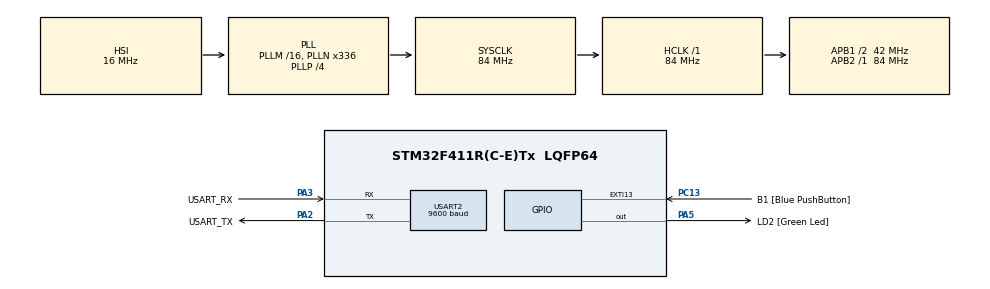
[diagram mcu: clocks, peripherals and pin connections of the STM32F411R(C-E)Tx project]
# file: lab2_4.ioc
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Mcu.Family=STM32F4
Mcu.Name=STM32F411R(C-E)Tx
Mcu.Package=LQFP64
NVIC.PriorityGroup=NVIC_PRIORITYGROUP_0
NVIC.USART2_IRQn=true\:0\:0\:false\:false\:true\:true\:true
PA13.GPIO_Label=TMS
PA13.Mode=Serial_Wire
PA13.Signal=SYS_JTMS-SWDIO
PA14.GPIO_Label=TCK
PA14.Mode=Serial_Wire
PA14.Signal=SYS_JTCK-SWCLK
PA2.GPIO_Label=USART_TX
PA2.Mode=Asynchronous
PA2.Signal=USART2_TX
PA3.GPIO_Label=USART_RX
PA3.Mode=Asynchronous
PA3.Signal=USART2_RX
PA5.GPIO_Label=LD2 [Green Led]
PA5.Signal=GPIO_Output
PB3.GPIO_Label=SWO
PB3.Signal=SYS_JTDO-SWO
PC13-ANTI_TAMP.GPIO_Label=B1 [Blue PushButton]
PC13-ANTI_TAMP.GPIO_ModeDefaultEXTI=GPIO_MODE_IT_FALLING
PC13-ANTI_TAMP.Signal=GPXTI13
PC14-OSC32_IN.Mode=LSE-External-Oscillator
PC14-OSC32_IN.Signal=RCC_OSC32_IN
PC15-OSC32_OUT.Mode=LSE-External-Oscillator
PC15-OSC32_OUT.Signal=RCC_OSC32_OUT
PH0\ -\ OSC_IN.Mode=HSE-External-Clock-Source
PH0\ -\ OSC_IN.Signal=RCC_OSC_IN
PH1\ -\ OSC_OUT.Mode=HSE-External-Clock-Source
PH1\ -\ OSC_OUT.Signal=RCC_OSC_OUT
ProjectManager.HeapSize=0x200
ProjectManager.StackSize=0x400
ProjectManager.TargetToolchain=STM32CubeIDE
RCC.48MHZClocksFreq_Value=84000000
RCC.AHBFreq_Value=84000000
RCC.APB1CLKDivider=RCC_HCLK_DIV2
RCC.APB1Freq_Value=42000000
RCC.APB1TimFreq_Value=84000000
RCC.APB2Freq_Value=84000000
RCC.APB2TimFreq_Value=84000000
RCC.CortexFreq_Value=84000000
RCC.FLatency-AdvancedSettings=FLASH_LATENCY_2
RCC.HCLKFreq_Value=84000000
RCC.HSE_VALUE=8000000
RCC.HSI_VALUE=16000000
RCC.PLLN=336
RCC.PLLP=RCC_PLLP_DIV4
RCC.SYSCLKFreq_VALUE=84000000
RCC.SYSCLKSource=RCC_SYSCLKSOURCE_PLLCLK
RCC.VCOOutputFreq_Value=336000000
USART2.BaudRate=9600
USART2.StopBits=STOPBITS_1
USART2.VirtualMode=VM_ASYNC
board=NUCLEO-F411RE

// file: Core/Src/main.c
/* USER CODE BEGIN Header */
/**
  ******************************************************************************
  * @file           : main.c
  * @brief          : Main program body
  ******************************************************************************
  * @attention
  *
  * <h2><center>&copy; Copyright (c) 2021 STMicroelectronics.
  * All rights reserved.</center></h2>
  *
  * This software component is licensed by ST under BSD 3-Clause license,
  * the "License"; You may not use this file except in compliance with the
  * License. You may obtain a copy of the License at:
  *                        opensource.org/licenses/BSD-3-Clause
  *
  ******************************************************************************
  */
/* USER CODE END Header */
#include "main.h"

UART_HandleTypeDef huart2;

/* USER CODE BEGIN PV */
uint8_t buf;
uint8_t cmd[4];
int exc, i;
/* USER CODE END PV */

void SystemClock_Config(void);
static void MX_GPIO_Init(void);
static void MX_USART2_UART_Init(void);

int main(void)
{

  /* MCU Configuration--------------------------------------------------------*/

  /* Reset of all peripherals, Initializes the Flash interface and the Systick. */
  HAL_Init();

  /* Configure the system clock */
  SystemClock_Config();

  /* Initialize all configured peripherals */
  MX_GPIO_Init();
  MX_USART2_UART_Init();
  /* USER CODE BEGIN 2 */

  exc = 1;
  i = 0;
  HAL_UART_Receive_IT(&huart2, &buf, sizeof(buf));
  /* USER CODE END 2 */

  /* Infinite loop */
  /* USER CODE BEGIN WHILE */
  while (1)
  {
	  if(exc) {
		  if(cmd[0] == 'o' && cmd[1] == 'n') HAL_GPIO_WritePin(GPIOA, GPIO_PIN_5, GPIO_PIN_SET);
		  else if(cmd[0] == 'o' && cmd[1] == 'f' && cmd[2] == 'f') HAL_GPIO_WritePin(GPIOA, GPIO_PIN_5, GPIO_PIN_RESET);
		  exc = 0;
		  i = 0;
	  }
    /* USER CODE END WHILE */
    /* USER CODE BEGIN 3 */
  }
}

void HAL_UART_RxCpltCallback(UART_HandleTypeDef *huart)
{
  if (huart->Instance == USART2)
  {
    /* Transmit one byte with 100 ms timeout */
    HAL_UART_Transmit(&huart2, &buf, 1, 100);

    /* Receive one byte in interrupt mode */
    HAL_UART_Receive_IT(&huart2, &buf, 1);

	  if(buf == 0xD || buf == 0xA) exc = 1;
	  else {
		  cmd[i] = buf;
		  i = (i + 1) % sizeof(cmd);
	  }
  }
  /* USER CODE END 3 */
}

void SystemClock_Config(void)
{
  RCC_OscInitTypeDef RCC_OscInitStruct = {0};
  RCC_ClkInitTypeDef RCC_ClkInitStruct = {0};

  /** Configure the main internal regulator output voltage
  */
  __HAL_RCC_PWR_CLK_ENABLE();
  __HAL_PWR_VOLTAGESCALING_CONFIG(PWR_REGULATOR_VOLTAGE_SCALE1);
  /** Initializes the RCC Oscillators according to the specified parameters
  * in the RCC_OscInitTypeDef structure.
  */
  RCC_OscInitStruct.OscillatorType = RCC_OSCILLATORTYPE_HSI;
  RCC_OscInitStruct.HSIState = RCC_HSI_ON;
  RCC_OscInitStruct.HSICalibrationValue = RCC_HSICALIBRATION_DEFAULT;
  RCC_OscInitStruct.PLL.PLLState = RCC_PLL_ON;
  RCC_OscInitStruct.PLL.PLLSource = RCC_PLLSOURCE_HSI;
  RCC_OscInitStruct.PLL.PLLM = 16;
  RCC_OscInitStruct.PLL.PLLN = 336;
  RCC_OscInitStruct.PLL.PLLP = RCC_PLLP_DIV4;
  RCC_OscInitStruct.PLL.PLLQ = 4;
  if (HAL_RCC_OscConfig(&RCC_OscInitStruct) != HAL_OK)
  {
    Error_Handler();
  }
  /** Initializes the CPU, AHB and APB buses clocks
  */
  RCC_ClkInitStruct.ClockType = RCC_CLOCKTYPE_HCLK|RCC_CLOCKTYPE_SYSCLK
                              |RCC_CLOCKTYPE_PCLK1|RCC_CLOCKTYPE_PCLK2;
  RCC_ClkInitStruct.SYSCLKSource = RCC_SYSCLKSOURCE_PLLCLK;
  RCC_ClkInitStruct.AHBCLKDivider = RCC_SYSCLK_DIV1;
  RCC_ClkInitStruct.APB1CLKDivider = RCC_HCLK_DIV2;
  RCC_ClkInitStruct.APB2CLKDivider = RCC_HCLK_DIV1;

  if (HAL_RCC_ClockConfig(&RCC_ClkInitStruct, FLASH_LATENCY_2) != HAL_OK)
  {
    Error_Handler();
  }
}

static void MX_USART2_UART_Init(void)
{

  huart2.Instance = USART2;
  huart2.Init.BaudRate = 9600;
  huart2.Init.WordLength = UART_WORDLENGTH_8B;
  huart2.Init.StopBits = UART_STOPBITS_1;
  huart2.Init.Parity = UART_PARITY_NONE;
  huart2.Init.Mode = UART_MODE_TX_RX;
  huart2.Init.HwFlowCtl = UART_HWCONTROL_NONE;
  huart2.Init.OverSampling = UART_OVERSAMPLING_16;
  if (HAL_UART_Init(&huart2) != HAL_OK)
  {
    Error_Handler();
  }

}

static void MX_GPIO_Init(void)
{
  GPIO_InitTypeDef GPIO_InitStruct = {0};

  /* GPIO Ports Clock Enable */
  __HAL_RCC_GPIOC_CLK_ENABLE();
  __HAL_RCC_GPIOH_CLK_ENABLE();
  __HAL_RCC_GPIOA_CLK_ENABLE();
  __HAL_RCC_GPIOB_CLK_ENABLE();

  /*Configure GPIO pin Output Level */
  HAL_GPIO_WritePin(LD2_GPIO_Port, LD2_Pin, GPIO_PIN_RESET);

  /*Configure GPIO pin : B1_Pin */
  GPIO_InitStruct.Pin = B1_Pin;
  GPIO_InitStruct.Mode = GPIO_MODE_IT_FALLING;
  GPIO_InitStruct.Pull = GPIO_NOPULL;
  HAL_GPIO_Init(B1_GPIO_Port, &GPIO_InitStruct);

  /*Configure GPIO pin : LD2_Pin */
  GPIO_InitStruct.Pin = LD2_Pin;
  GPIO_InitStruct.Mode = GPIO_MODE_OUTPUT_PP;
  GPIO_InitStruct.Pull = GPIO_NOPULL;
  GPIO_InitStruct.Speed = GPIO_SPEED_FREQ_LOW;
  HAL_GPIO_Init(LD2_GPIO_Port, &GPIO_InitStruct);

}

void Error_Handler(void)
{
  __disable_irq();
  while (1)
  {
  }
}

/************************ (C) COPYRIGHT STMicroelectronics *****END OF FILE****/
